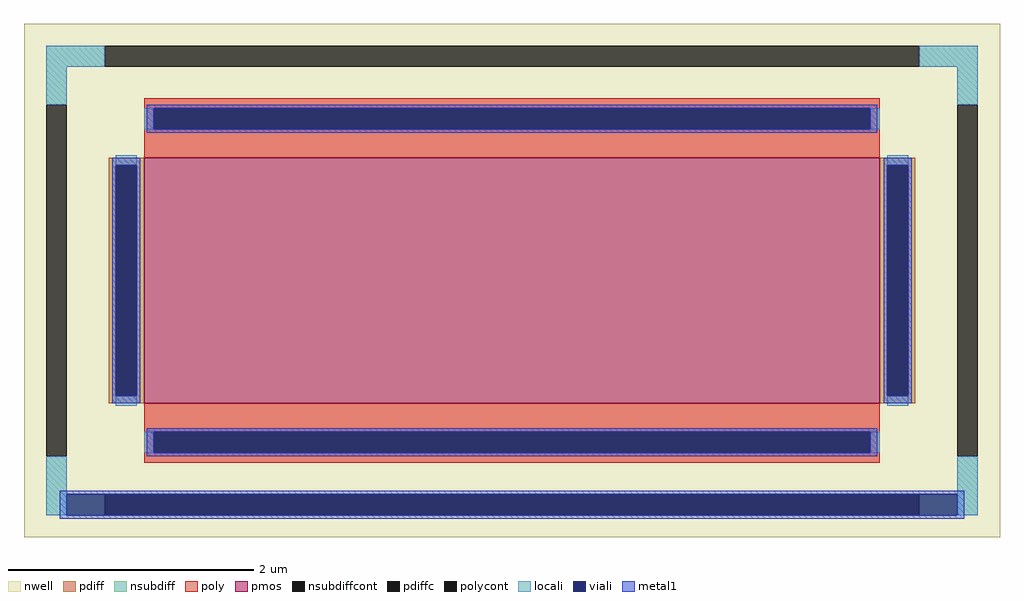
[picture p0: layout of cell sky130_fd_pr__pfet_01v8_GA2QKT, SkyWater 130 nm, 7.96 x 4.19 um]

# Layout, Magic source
magic
tech sky130A
magscale 1 2
<< nwell >>
rect -796 -419 796 419
<< pmos >>
rect -600 -200 600 200
<< pdiff >>
rect -658 188 -600 200
rect -658 -188 -646 188
rect -612 -188 -600 188
rect -658 -200 -600 -188
rect 600 188 658 200
rect 600 -188 612 188
rect 646 -188 658 188
rect 600 -200 658 -188
<< pdiffc >>
rect -646 -188 -612 188
rect 612 -188 646 188
<< nsubdiff >>
rect -760 349 -664 383
rect 664 349 760 383
rect -760 287 -726 349
rect 726 287 760 349
rect -760 -349 -726 -287
rect 726 -349 760 -287
rect -760 -383 -664 -349
rect 664 -383 760 -349
<< nsubdiffcont >>
rect -664 349 664 383
rect -760 -287 -726 287
rect 726 -287 760 287
rect -664 -383 664 -349
<< poly >>
rect -600 281 600 297
rect -600 247 -584 281
rect 584 247 600 281
rect -600 200 600 247
rect -600 -247 600 -200
rect -600 -281 -584 -247
rect 584 -281 600 -247
rect -600 -297 600 -281
<< polycont >>
rect -584 247 584 281
rect -584 -281 584 -247
<< locali >>
rect -760 349 -664 383
rect 664 349 760 383
rect -760 287 -726 349
rect 726 287 760 349
rect -600 247 -584 281
rect 584 247 600 281
rect -646 188 -612 204
rect -646 -204 -612 -188
rect 612 188 646 204
rect 612 -204 646 -188
rect -600 -281 -584 -247
rect 584 -281 600 -247
rect -760 -383 -726 -287
rect 726 -383 760 -287
<< viali >>
rect -584 247 584 281
rect -646 -188 -612 188
rect 612 -188 646 188
rect -584 -281 584 -247
rect -726 -383 -664 -349
rect -664 -383 664 -349
rect 664 -383 726 -349
<< metal1 >>
rect -596 281 596 287
rect -596 247 -584 281
rect 584 247 596 281
rect -596 241 596 247
rect -652 188 -606 200
rect -652 -188 -646 188
rect -612 -188 -606 188
rect -652 -200 -606 -188
rect 606 188 652 200
rect 606 -188 612 188
rect 646 -188 652 188
rect 606 -200 652 -188
rect -596 -247 596 -241
rect -596 -281 -584 -247
rect 584 -281 596 -247
rect -596 -287 596 -281
rect -738 -349 738 -343
rect -738 -383 -726 -349
rect 726 -383 738 -349
rect -738 -389 738 -383
<< properties >>
string FIXED_BBOX -743 -366 743 366
string gencell sky130_fd_pr__pfet_01v8
string library sky130
string parameters w 2.0 l 6.0 m 1 nf 1 diffcov 100 polycov 100 guard 1 glc 1 grc 1 gtc 1 gbc 1 tbcov 100 rlcov 100 topc 1 botc 1 poverlap 0 doverlap 1 lmin 0.15 wmin 0.42 compatible {sky130_fd_pr__pfet_01v8  sky130_fd_pr__pfet_01v8_lvt sky130_fd_pr__pfet_01v8_hvt  sky130_fd_pr__pfet_g5v0d10v5} full_metal 1 viasrc 100 viadrn 100 viagate 100 viagb 100 viagr 0 viagl 0 viagt 0
<< end >>
